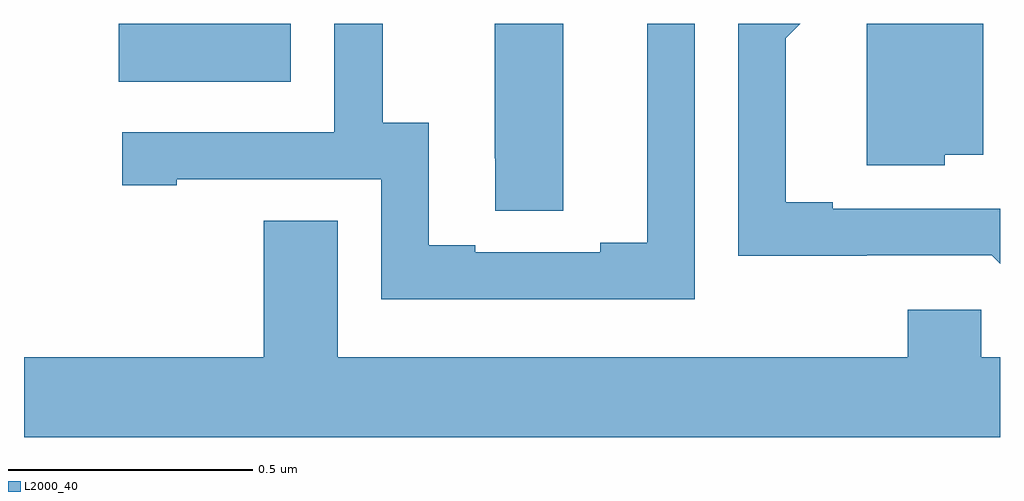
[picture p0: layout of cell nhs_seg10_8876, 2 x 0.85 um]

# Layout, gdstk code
import gdstk
lib = gdstk.Library(unit=1e-6, precision=1e-09)
def R(c, l, rs):  # rectangles x0, y0, x1, y1
    for r in rs: c.add(gdstk.rectangle(r[:2], r[2:], *l))
def P(c, l, *ps):  # polygons
    for p in ps: c.add(gdstk.Polygon(p, *l))
L2000_40 = (2000, 40)

nhs_seg10_8876 = lib.new_cell('nhs_seg10_8876')
R(nhs_seg10_8876, L2000_40, [(222.194,1298.381,222.547,1298.5)])
P(nhs_seg10_8876, L2000_40, [(223.105,1298.5),(222.965,1298.5),(222.965,1298.224),(222.966,1298.224),(222.966,1298.116),(223.105,1298.116)],
  [(224,1298.121),(223.657,1298.121),(223.657,1298.134),(223.561,1298.134),(223.561,1298.47),(223.591,1298.5),(223.464,1298.5),(223.464,1298.024),(223.727,1298.024),(223.727,1298.025),(223.983,1298.025),(224,1298.008)],
  [(223.374,1298.5),(223.277,1298.5),(223.277,1298.051),(223.181,1298.051),(223.181,1298.031),(222.925,1298.031),(222.925,1298.046),(222.829,1298.046),(222.829,1298.297),(222.735,1298.297),(222.735,1298.5),(222.636,1298.5),(222.636,1298.277),(222.201,1298.277),(222.201,1298.169),(222.313,1298.169),(222.313,1298.181),(222.732,1298.181),(222.732,1297.935),(223.374,1297.935)],
  [(223.887,1298.231),(223.966,1298.231),(223.966,1298.5),(223.727,1298.5),(223.727,1298.21),(223.887,1298.21)],
  [(224,1297.816),(223.962,1297.816),(223.962,1297.914),(223.811,1297.914),(223.811,1297.816),(222.643,1297.816),(222.643,1298.096),(222.491,1298.096),(222.491,1297.816),(222,1297.816),(222,1297.652),(224,1297.652)])

lib.write_gds('nhs_seg10_8876.gds')
